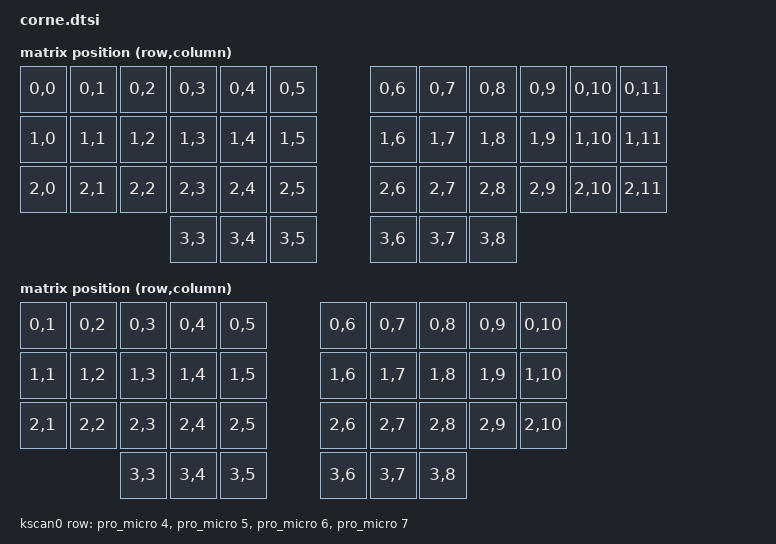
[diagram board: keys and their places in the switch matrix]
/*
 * Copyright (c) 2020 Pete Johanson
 *
 * SPDX-License-Identifier: MIT
 */

#include <dt-bindings/zmk/matrix_transform.h>
#include <rgb_fx.dtsi>
#include <dt-bindings/zmk/rgb_fx.h>
#include <dt-bindings/led/led.h>

#include <layouts/foostan/corne/5column.dtsi>
#include <layouts/foostan/corne/6column.dtsi>

&foostan_corne_6col_layout {
    transform = <&default_transform>;
};

&foostan_corne_5col_layout {
    transform = <&five_column_transform>;
};

/ {
    chosen {
        zephyr,display = &oled;
        zmk,kscan = &kscan0;
        zmk,physical-layout = &foostan_corne_6col_layout;
        zmk,rgb-fx = &rgb_fx_root;
    };

    // Zephyr WS2812 GPIO LED Strip (bit-bang - single data pin)
    ws2812_led_strip: ws2812@0 {
        compatible = "worldsemi,ws2812-gpio";  // Matches CONFIG_WS2812_GPIO
        chain-length = <54>;  // Total LEDs; <27> per half if separate
        // Data pin: Adjust to your wiring (e.g., P0.06 = pin 6 on gpio0)
        in-gpios = <&gpio0 6 GPIO_ACTIVE_HIGH>;  // Example: D6/P0.06 on nice!nano; change as needed
        // GRB order (common for WS2812)
        color-mapping = <1 0 2>;  // Green=1, Red=0, Blue=2
    };

    default_transform: keymap_transform_0 {
        compatible = "zmk,matrix-transform";
        columns = <12>;
        rows = <4>;
        // | SW1  | SW2  | SW3  | SW4  | SW5  | SW6  |   | SW6  | SW5  | SW4  | SW3  | SW2  | SW1  |
        // | SW7  | SW8  | SW9  | SW10 | SW11 | SW12 |   | SW12 | SW11 | SW10 | SW9  | SW8  | SW7  |
        // | SW13 | SW14 | SW15 | SW16 | SW17 | SW18 |   | SW18 | SW17 | SW16 | SW15 | SW14 | SW13 |
        //                      | SW19 | SW20 | SW21 |   | SW21 | SW20 | SW19 |

        map = <
            RC(0,0) RC(0,1) RC(0,2) RC(0,3) RC(0,4) RC(0,5)  RC(0,6) RC(0,7) RC(0,8) RC(0,9) RC(0,10) RC(0,11)
            RC(1,0) RC(1,1) RC(1,2) RC(1,3) RC(1,4) RC(1,5)  RC(1,6) RC(1,7) RC(1,8) RC(1,9) RC(1,10) RC(1,11)
            RC(2,0) RC(2,1) RC(2,2) RC(2,3) RC(2,4) RC(2,5)  RC(2,6) RC(2,7) RC(2,8) RC(2,9) RC(2,10) RC(2,11)
                            RC(3,3) RC(3,4) RC(3,5)  RC(3,6) RC(3,7) RC(3,8)
        >;
    };

    five_column_transform: keymap_transform_1 {
        compatible = "zmk,matrix-transform";
        columns = <10>;
        rows = <4>;
        // | SW2  | SW3  | SW4  | SW5  | SW6  |   | SW6  | SW5  | SW4  | SW3  | SW2  |
        // | SW8  | SW9  | SW10 | SW11 | SW12 |   | SW12 | SW11 | SW10 | SW9  | SW8  |
        // | SW14 | SW15 | SW16 | SW17 | SW18 |   | SW18 | SW17 | SW16 | SW15 | SW14 |
        //               | SW19 | SW20 | SW21 |   | SW21 | SW20 | SW19 |

        map = <
            RC(0,1) RC(0,2) RC(0,3) RC(0,4) RC(0,5)  RC(0,6) RC(0,7) RC(0,8) RC(0,9) RC(0,10)
            RC(1,1) RC(1,2) RC(1,3) RC(1,4) RC(1,5)  RC(1,6) RC(1,7) RC(1,8) RC(1,9) RC(1,10)
            RC(2,1) RC(2,2) RC(2,3) RC(2,4) RC(2,5)  RC(2,6) RC(2,7) RC(2,8) RC(2,9) RC(2,10)
                            RC(3,3) RC(3,4) RC(3,5)  RC(3,6) RC(3,7) RC(3,8)
        >;
    };

    kscan0: kscan {
        compatible = "zmk,kscan-gpio-matrix";
        wakeup-source;

        diode-direction = "col2row";
        row-gpios = <&pro_micro 4 (GPIO_ACTIVE_HIGH | GPIO_PULL_DOWN)>,
                    <&pro_micro 5 (GPIO_ACTIVE_HIGH | GPIO_PULL_DOWN)>,
                    <&pro_micro 6 (GPIO_ACTIVE_HIGH | GPIO_PULL_DOWN)>,
                    <&pro_micro 7 (GPIO_ACTIVE_HIGH | GPIO_PULL_DOWN)>;
    };

    rgb_fx_root: rgb-fx {
        compatible = "zmk,rgb-fx";
        drivers = <&ws2812_led_strip>;  // Reference the Zephyr WS2812 device
        chain-lengths = <54>;  // Matches ws2812 chain-length

        key-pixels = <>;  // Empty for full-chain mapping

        // Full 54-pixel mapping (0-5 left top row, etc.)
        pixels = <&pixel 0 0>,
                 <&pixel 0 1>,
                 <&pixel 0 2>,
                 <&pixel 0 3>,
                 <&pixel 0 4>,
                 <&pixel 0 5>,
                 <&pixel 0 6>,
                 <&pixel 0 7>,
                 <&pixel 0 8>,
                 <&pixel 0 9>,
                 <&pixel 0 10>,
                 <&pixel 0 11>,
                 <&pixel 0 12>,
                 <&pixel 0 13>,
                 <&pixel 0 14>,
                 <&pixel 0 15>,
                 <&pixel 0 16>,
                 <&pixel 0 17>,
                 <&pixel 0 18>,
                 <&pixel 0 19>,
                 <&pixel 0 20>,
                 <&pixel 0 21>,
                 <&pixel 0 22>,
                 <&pixel 0 23>,
                 <&pixel 0 24>,
                 <&pixel 0 25>,
                 <&pixel 0 26>,
                 <&pixel 0 27>,
                 <&pixel 0 28>,
                 <&pixel 0 29>,
                 <&pixel 0 30>,
                 <&pixel 0 31>,
                 <&pixel 0 32>,
                 <&pixel 0 33>,
                 <&pixel 0 34>,
                 <&pixel 0 35>,
                 <&pixel 0 36>,
                 <&pixel 0 37>,
                 <&pixel 0 38>,
                 <&pixel 0 39>,
                 <&pixel 0 40>,
                 <&pixel 0 41>,
                 <&pixel 0 42>,
                 <&pixel 0 43>,
                 <&pixel 0 44>,
                 <&pixel 0 45>,
                 <&pixel 0 46>,
                 <&pixel 0 47>,
                 <&pixel 0 48>,
                 <&pixel 0 49>,
                 <&pixel 0 50>,
                 <&pixel 0 51>,
                 <&pixel 0 52>,
                 <&pixel 0 53>;

        root_animation: animation_100 {
            compatible = "zmk,rgb-fx-compose";
            status = "okay";
            fx = <&main_animations>;
        };


        main_animations: animation_0 {
            compatible = "zmk,rgb-fx-control-group";
            status = "okay";

            fx = <
                &blue_solid
                &red_solid
                &white_solid
                &heatmap_effect
            >;

        };


        blue_solid: animation_1 {
            compatible = "zmk,rgb-fx-solid";
            status = "okay";

            pixels = <0 1 2 3 4 5
                      6 7 8 9 10 11
                      12 13 14 15 16 17
                      18 19 20
                      21 22 23 24 25 26
                      27 28 29 30 31 32
                      33 34 35 36 37 38
                      39 40 41 42 43 44 45 46 47 48 49 50 51 52 53>;
            colors = <HSL(187, 100, 59)>;

        };


        red_solid: animation_2 {
            compatible = "zmk,rgb-fx-solid";
            status = "okay";

           pixels = <0 1 2 3 4 5
                      6 7 8 9 10 11
                      12 13 14 15 16 17
                      18 19 20
                      21 22 23 24 25 26
                      27 28 29 30 31 32
                      33 34 35 36 37 38
                      39 40 41 42 43 44 45 46 47 48 49 50 51 52 53>;
            colors = <HSL(354, 100, 59)>;

        };


        white_solid: animation_3 {
            compatible = "zmk,rgb-fx-solid";
            status = "okay";


            pixels = <0 1 2 3 4 5
                      6 7 8 9 10 11
                      12 13 14 15 16 17
                      18 19 20
                      21 22 23 24 25 26
                      27 28 29 30 31 32
                      33 34 35 36 37 38
                      39 40 41 42 43 44 45 46 47 48 49 50 51 52 53>;
            colors = <HSL(0, 0, 100)>;

        };


        heatmap_effect: animation_4 {
            compatible = "zmk,rgb-fx-heatmap";
            status = "okay";

            pixels = <0 1 2 3 4 5
                      6 7 8 9 10 11
                      12 13 14 15 16 17
                      18 19 20
                      21 22 23 24 25 26
                      27 28 29 30 31 32
                      33 34 35 36 37 38
                      39 40 41 42 43 44 45 46 47 48 49 50 51 52 53>;
            color-cold-hue = <240>;  // Blue for unused
            color-hot-hue = <0>;     // Red for used
            saturation = <100>;
            lightness = <50>;
            blending-mode = "normal";

        };

    };

};


&pro_micro_i2c {

    status = "okay";

    oled: ssd1306@3c {
        compatible = "solomon,ssd1306fb";
        reg = <0x3c>;
        width = <128>;
        height = <32>;
        segment-offset = <0>;
        page-offset = <0>;
        display-offset = <0>;
        multiplex-ratio = <31>;
        segment-remap;
        com-invdir;
        com-sequential;
        inversion-on;
        prechargep = <0x22>;

    };

};
